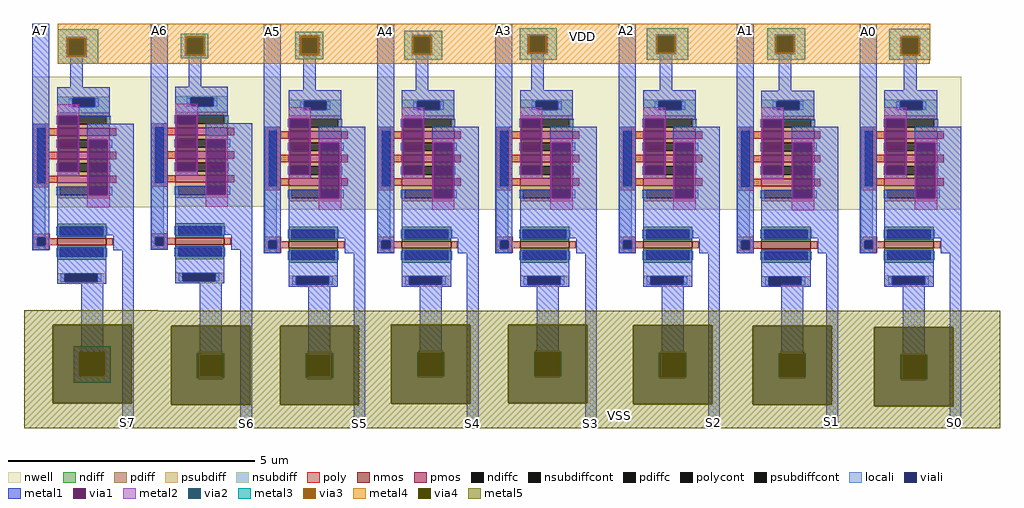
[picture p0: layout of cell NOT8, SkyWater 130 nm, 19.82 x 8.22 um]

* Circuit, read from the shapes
.subckt NOT8 A7 A6 A5 A4 A3 A2 A1 A0 S0 S1 S2 S3 S4 S5 S6 S7 VDD VSS
XM1 S7 A7 VSS VSS sky130_fd_pr__nfet_01v8 w=1 l=0.15
XM2 S6 A6 VSS VSS sky130_fd_pr__nfet_01v8 w=1 l=0.15
XM3 S5 A5 VSS VSS sky130_fd_pr__nfet_01v8 w=1 l=0.15
XM4 S4 A4 VSS VSS sky130_fd_pr__nfet_01v8 w=1 l=0.15
XM5 S3 A3 VSS VSS sky130_fd_pr__nfet_01v8 w=1 l=0.15
XM6 S2 A2 VSS VSS sky130_fd_pr__nfet_01v8 w=1 l=0.15
XM7 S1 A1 VSS VSS sky130_fd_pr__nfet_01v8 w=1 l=0.15
XM8 S0 A0 VSS VSS sky130_fd_pr__nfet_01v8 w=1 l=0.15
XM9 VDD A7 S7 VDD sky130_fd_pr__pfet_01v8 w=1.07 l=0.15 m=3
XM10 VDD A6 S6 VDD sky130_fd_pr__pfet_01v8 w=1.07 l=0.15 m=3
XM11 VDD A5 S5 VDD sky130_fd_pr__pfet_01v8 w=1.07 l=0.15 m=3
XM12 VDD A4 S4 VDD sky130_fd_pr__pfet_01v8 w=1.07 l=0.15 m=3
XM13 VDD A3 S3 VDD sky130_fd_pr__pfet_01v8 w=1.07 l=0.15 m=3
XM14 VDD A2 S2 VDD sky130_fd_pr__pfet_01v8 w=1.07 l=0.15 m=3
XM15 VDD A1 S1 VDD sky130_fd_pr__pfet_01v8 w=1.07 l=0.15 m=3
XM16 VDD A0 S0 VDD sky130_fd_pr__pfet_01v8 w=1.07 l=0.15 m=3
.ends

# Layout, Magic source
magic
tech sky130B
magscale 1 2
<< nwell >>
rect -76 872 3696 928
rect -76 510 3660 872
rect 311 509 417 510
rect 311 506 461 509
rect 336 398 461 506
rect 815 400 908 510
rect 1275 386 1541 510
rect 1731 386 1997 510
rect 2213 386 2479 510
rect 2713 386 2979 510
rect 3193 386 3459 510
<< metal1 >>
rect -76 736 -7 1143
rect 77 1074 129 1080
rect 77 876 129 1022
rect 404 735 473 1143
rect 558 1078 610 1084
rect 558 876 610 1026
rect 864 723 933 1143
rect 1023 1080 1075 1086
rect 1023 870 1075 1028
rect 1324 722 1393 1143
rect 1480 1082 1532 1088
rect 1480 867 1532 1030
rect 1804 719 1873 1143
rect 1949 1085 2001 1091
rect 1949 868 2001 1033
rect 2304 718 2373 1143
rect 2471 1085 2523 1091
rect 2471 867 2523 1033
rect 2784 721 2853 1143
rect 2954 1085 3006 1091
rect 2954 868 3006 1033
rect 3284 718 3353 1143
rect 3463 1079 3515 1085
rect 3463 869 3515 1027
rect 122 -195 211 89
rect 122 -290 211 -284
rect 288 -501 336 223
rect 603 -201 692 89
rect 603 -296 692 -290
rect 768 -501 816 237
rect 1045 -201 1134 89
rect 1045 -296 1134 -290
rect 1228 -501 1276 220
rect 1497 -196 1586 89
rect 1497 -291 1586 -285
rect 1688 -501 1736 219
rect 1972 -195 2061 89
rect 1972 -290 2061 -284
rect 2168 -501 2216 216
rect 2479 -199 2568 89
rect 2479 -294 2568 -288
rect 2668 -501 2716 219
rect 2965 -200 3054 89
rect 2965 -295 3054 -289
rect 3148 -501 3196 219
rect 3458 -207 3547 89
rect 3458 -302 3547 -296
rect 3648 -501 3696 229
<< via1 >>
rect 77 1022 129 1074
rect 558 1026 610 1078
rect 1023 1028 1075 1080
rect 1480 1030 1532 1082
rect 1949 1033 2001 1085
rect 2471 1033 2523 1085
rect 2954 1033 3006 1085
rect 3463 1027 3515 1079
rect 122 -284 211 -195
rect 603 -290 692 -201
rect 1045 -290 1134 -201
rect 1497 -285 1586 -196
rect 1972 -284 2061 -195
rect 2479 -288 2568 -199
rect 2965 -289 3054 -200
rect 3458 -296 3547 -207
<< metal2 >>
rect 62 1078 144 1089
rect 62 1018 73 1078
rect 133 1018 144 1078
rect 62 1007 144 1018
rect 543 1082 625 1093
rect 543 1022 554 1082
rect 614 1022 625 1082
rect 543 1011 625 1022
rect 1008 1084 1090 1095
rect 1008 1024 1019 1084
rect 1079 1024 1090 1084
rect 1008 1013 1090 1024
rect 1465 1086 1547 1097
rect 1465 1026 1476 1086
rect 1536 1026 1547 1086
rect 1465 1015 1547 1026
rect 1934 1089 2016 1100
rect 1934 1029 1945 1089
rect 2005 1029 2016 1089
rect 1934 1018 2016 1029
rect 2456 1089 2538 1100
rect 2456 1029 2467 1089
rect 2527 1029 2538 1089
rect 2456 1018 2538 1029
rect 2939 1089 3021 1100
rect 2939 1029 2950 1089
rect 3010 1029 3021 1089
rect 2939 1018 3021 1029
rect 3448 1083 3530 1094
rect 3448 1023 3459 1083
rect 3519 1023 3530 1083
rect 3448 1012 3530 1023
rect 113 -284 122 -195
rect 211 -284 220 -195
rect 598 -201 697 -190
rect 1040 -201 1139 -190
rect 1492 -196 1591 -185
rect 1967 -195 2066 -184
rect 597 -290 603 -201
rect 692 -290 698 -201
rect 1039 -290 1045 -201
rect 1134 -290 1140 -201
rect 1491 -285 1497 -196
rect 1586 -285 1592 -196
rect 1966 -284 1972 -195
rect 2061 -284 2067 -195
rect 2474 -199 2573 -188
rect 598 -301 697 -290
rect 1040 -301 1139 -290
rect 1492 -296 1591 -285
rect 1967 -295 2066 -284
rect 2473 -288 2479 -199
rect 2568 -288 2574 -199
rect 2960 -200 3059 -189
rect 2474 -299 2573 -288
rect 2959 -289 2965 -200
rect 3054 -289 3060 -200
rect 3453 -207 3552 -196
rect 2960 -300 3059 -289
rect 3452 -296 3458 -207
rect 3547 -296 3553 -207
rect 3453 -307 3552 -296
<< via2 >>
rect 73 1074 133 1078
rect 73 1022 77 1074
rect 77 1022 129 1074
rect 129 1022 133 1074
rect 73 1018 133 1022
rect 554 1078 614 1082
rect 554 1026 558 1078
rect 558 1026 610 1078
rect 610 1026 614 1078
rect 554 1022 614 1026
rect 1019 1080 1079 1084
rect 1019 1028 1023 1080
rect 1023 1028 1075 1080
rect 1075 1028 1079 1080
rect 1019 1024 1079 1028
rect 1476 1082 1536 1086
rect 1476 1030 1480 1082
rect 1480 1030 1532 1082
rect 1532 1030 1536 1082
rect 1476 1026 1536 1030
rect 1945 1085 2005 1089
rect 1945 1033 1949 1085
rect 1949 1033 2001 1085
rect 2001 1033 2005 1085
rect 1945 1029 2005 1033
rect 2467 1085 2527 1089
rect 2467 1033 2471 1085
rect 2471 1033 2523 1085
rect 2523 1033 2527 1085
rect 2467 1029 2527 1033
rect 2950 1085 3010 1089
rect 2950 1033 2954 1085
rect 2954 1033 3006 1085
rect 3006 1033 3010 1085
rect 2950 1029 3010 1033
rect 3459 1079 3519 1083
rect 3459 1027 3463 1079
rect 3463 1027 3515 1079
rect 3515 1027 3519 1079
rect 3459 1023 3519 1027
rect 122 -284 211 -195
rect 603 -290 692 -201
rect 1045 -290 1134 -201
rect 1497 -285 1586 -196
rect 1972 -284 2061 -195
rect 2479 -288 2568 -199
rect 2965 -289 3054 -200
rect 3458 -296 3547 -207
<< metal3 >>
rect 27 1083 191 1119
rect 27 1013 68 1083
rect 138 1013 191 1083
rect 27 980 191 1013
rect 527 1087 638 1102
rect 527 1017 549 1087
rect 619 1017 638 1087
rect 527 1002 638 1017
rect 991 1089 1106 1109
rect 991 1019 1014 1089
rect 1084 1019 1106 1089
rect 991 998 1106 1019
rect 1433 1091 1588 1114
rect 1433 1021 1471 1091
rect 1541 1021 1588 1091
rect 1433 997 1588 1021
rect 1903 1094 2054 1124
rect 1903 1024 1940 1094
rect 2010 1024 2054 1094
rect 1903 997 2054 1024
rect 2419 1094 2588 1124
rect 2419 1024 2462 1094
rect 2532 1024 2588 1094
rect 2419 997 2588 1024
rect 2907 1094 3062 1124
rect 2907 1024 2945 1094
rect 3015 1024 3062 1094
rect 2907 997 3062 1024
rect 3404 1088 3570 1122
rect 3404 1018 3454 1088
rect 3524 1018 3570 1088
rect 3404 997 3570 1018
rect 92 -190 242 -168
rect 92 -289 117 -190
rect 216 -289 242 -190
rect 92 -315 242 -289
rect 592 -295 598 -196
rect 697 -295 703 -196
rect 1034 -295 1040 -196
rect 1139 -295 1145 -196
rect 1486 -290 1492 -191
rect 1591 -290 1597 -191
rect 1961 -289 1967 -190
rect 2066 -289 2072 -190
rect 2468 -293 2474 -194
rect 2573 -293 2579 -194
rect 2954 -294 2960 -195
rect 3059 -294 3065 -195
rect 3447 -301 3453 -202
rect 3552 -301 3558 -202
<< via3 >>
rect 68 1078 138 1083
rect 68 1018 73 1078
rect 73 1018 133 1078
rect 133 1018 138 1078
rect 68 1013 138 1018
rect 549 1082 619 1087
rect 549 1022 554 1082
rect 554 1022 614 1082
rect 614 1022 619 1082
rect 549 1017 619 1022
rect 1014 1084 1084 1089
rect 1014 1024 1019 1084
rect 1019 1024 1079 1084
rect 1079 1024 1084 1084
rect 1014 1019 1084 1024
rect 1471 1086 1541 1091
rect 1471 1026 1476 1086
rect 1476 1026 1536 1086
rect 1536 1026 1541 1086
rect 1471 1021 1541 1026
rect 1940 1089 2010 1094
rect 1940 1029 1945 1089
rect 1945 1029 2005 1089
rect 2005 1029 2010 1089
rect 1940 1024 2010 1029
rect 2462 1089 2532 1094
rect 2462 1029 2467 1089
rect 2467 1029 2527 1089
rect 2527 1029 2532 1089
rect 2462 1024 2532 1029
rect 2945 1089 3015 1094
rect 2945 1029 2950 1089
rect 2950 1029 3010 1089
rect 3010 1029 3015 1089
rect 2945 1024 3015 1029
rect 3454 1083 3524 1088
rect 3454 1023 3459 1083
rect 3459 1023 3519 1083
rect 3519 1023 3524 1083
rect 3454 1018 3524 1023
rect 117 -195 216 -190
rect 117 -284 122 -195
rect 122 -284 211 -195
rect 211 -284 216 -195
rect 117 -289 216 -284
rect 598 -201 697 -196
rect 598 -290 603 -201
rect 603 -290 692 -201
rect 692 -290 697 -201
rect 598 -295 697 -290
rect 1040 -201 1139 -196
rect 1040 -290 1045 -201
rect 1045 -290 1134 -201
rect 1134 -290 1139 -201
rect 1040 -295 1139 -290
rect 1492 -196 1591 -191
rect 1492 -285 1497 -196
rect 1497 -285 1586 -196
rect 1586 -285 1591 -196
rect 1492 -290 1591 -285
rect 1967 -195 2066 -190
rect 1967 -284 1972 -195
rect 1972 -284 2061 -195
rect 2061 -284 2066 -195
rect 1967 -289 2066 -284
rect 2474 -199 2573 -194
rect 2474 -288 2479 -199
rect 2479 -288 2568 -199
rect 2568 -288 2573 -199
rect 2474 -293 2573 -288
rect 2960 -200 3059 -195
rect 2960 -289 2965 -200
rect 2965 -289 3054 -200
rect 3054 -289 3059 -200
rect 2960 -294 3059 -289
rect 3453 -207 3552 -202
rect 3453 -296 3458 -207
rect 3458 -296 3547 -207
rect 3547 -296 3552 -207
rect 3453 -301 3552 -296
<< metal4 >>
rect 27 1094 3570 1143
rect 27 1091 1940 1094
rect 27 1089 1471 1091
rect 27 1087 1014 1089
rect 27 1083 549 1087
rect 27 1013 68 1083
rect 138 1017 549 1083
rect 619 1019 1014 1087
rect 1084 1021 1471 1089
rect 1541 1024 1940 1091
rect 2010 1024 2462 1094
rect 2532 1024 2945 1094
rect 3015 1088 3570 1094
rect 3015 1024 3454 1088
rect 1541 1021 3454 1024
rect 1084 1019 3454 1021
rect 619 1018 3454 1019
rect 3524 1018 3570 1088
rect 619 1017 3570 1018
rect 138 1013 3570 1017
rect 27 997 3570 1013
rect 27 980 3568 997
<< via4 >>
rect 7 -190 327 -79
rect 7 -289 117 -190
rect 117 -289 216 -190
rect 216 -289 327 -190
rect 7 -399 327 -289
rect 488 -196 808 -85
rect 488 -295 598 -196
rect 598 -295 697 -196
rect 697 -295 808 -196
rect 488 -405 808 -295
rect 930 -196 1250 -85
rect 930 -295 1040 -196
rect 1040 -295 1139 -196
rect 1139 -295 1250 -196
rect 930 -405 1250 -295
rect 1382 -191 1702 -80
rect 1382 -290 1492 -191
rect 1492 -290 1591 -191
rect 1591 -290 1702 -191
rect 1382 -400 1702 -290
rect 1857 -190 2177 -79
rect 1857 -289 1967 -190
rect 1967 -289 2066 -190
rect 2066 -289 2177 -190
rect 1857 -399 2177 -289
rect 2364 -194 2684 -83
rect 2364 -293 2474 -194
rect 2474 -293 2573 -194
rect 2573 -293 2684 -194
rect 2364 -403 2684 -293
rect 2850 -195 3170 -84
rect 2850 -294 2960 -195
rect 2960 -294 3059 -195
rect 3059 -294 3170 -195
rect 2850 -404 3170 -294
rect 3343 -202 3663 -91
rect 3343 -301 3453 -202
rect 3453 -301 3552 -202
rect 3552 -301 3663 -202
rect 3343 -411 3663 -301
<< metal5 >>
rect -110 -24 435 -22
rect -110 -79 3853 -24
rect -110 -399 7 -79
rect 327 -80 1857 -79
rect 327 -85 1382 -80
rect 327 -399 488 -85
rect -110 -405 488 -399
rect 808 -405 930 -85
rect 1250 -400 1382 -85
rect 1702 -399 1857 -80
rect 2177 -83 3853 -79
rect 2177 -399 2364 -83
rect 1702 -400 2364 -399
rect 1250 -403 2364 -400
rect 2684 -84 3853 -83
rect 2684 -403 2850 -84
rect 1250 -404 2850 -403
rect 3170 -91 3853 -84
rect 3170 -404 3343 -91
rect 1250 -405 3343 -404
rect -110 -411 3343 -405
rect 3663 -411 3853 -91
rect -110 -501 3853 -411
use inv  inv_0 ~/Desktop/vlsi_sky130b/design/mag/inv
transform 1 0 1804 0 1 386
box 0 -311 412 486
use inv  inv_1
transform 1 0 -76 0 1 398
box 0 -311 412 486
use inv  inv_2
transform 1 0 404 0 1 400
box 0 -311 412 486
use inv  inv_3
transform 1 0 864 0 1 386
box 0 -311 412 486
use inv  inv_4
transform 1 0 1324 0 1 386
box 0 -311 412 486
use inv  inv_5
transform 1 0 2304 0 1 386
box 0 -311 412 486
use inv  inv_6
transform 1 0 2784 0 1 385
box 0 -311 412 486
use inv  inv_7
transform 1 0 3284 0 1 386
box 0 -311 412 486
<< labels >>
rlabel metal1 3652 -495 3687 -462 1 S0
port 9 n
rlabel metal1 3153 -488 3188 -455 1 S1
port 10 n
rlabel metal1 2674 -495 2709 -462 1 S2
port 11 n
rlabel metal1 2174 -496 2209 -463 1 S3
port 12 n
rlabel metal1 1694 -496 1729 -463 1 S4
port 13 n
rlabel metal1 1235 -496 1270 -463 1 S5
port 14 n
rlabel metal1 774 -496 809 -463 1 S6
port 15 n
rlabel metal1 294 -495 329 -462 1 S7
port 16 n
rlabel metal1 3293 1088 3344 1135 5 A0
port 8 s
rlabel metal1 2793 1090 2844 1137 5 A1
port 7 s
rlabel metal1 2312 1091 2363 1138 5 A2
port 6 s
rlabel metal1 1813 1090 1864 1137 5 A3
port 5 s
rlabel metal1 1332 1089 1383 1136 5 A4
port 4 s
rlabel metal1 872 1088 923 1135 5 A5
port 3 s
rlabel metal1 413 1091 464 1138 5 A6
port 2 s
rlabel metal1 -68 1091 -17 1138 5 A7
port 1 s
flabel metal4 2108 1056 2206 1126 0 FreeSans 160 0 0 0 VDD
port 17 nsew
flabel metal5 2258 -482 2356 -412 0 FreeSans 160 0 0 0 VSS
port 18 nsew
<< end >>

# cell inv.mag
magic
tech sky130B
magscale 1 2
<< nwell >>
rect 0 366 412 486
rect 101 347 104 366
rect 223 290 343 338
rect 326 288 343 290
rect 376 0 412 366
<< psubdiff >>
rect 100 -270 300 -268
rect 100 -304 131 -270
rect 263 -304 300 -270
rect 100 -311 300 -304
<< nsubdiff >>
rect 100 442 314 448
rect 100 408 163 442
rect 254 408 314 442
rect 100 382 314 408
<< psubdiffcont >>
rect 131 -304 263 -270
<< nsubdiffcont >>
rect 163 408 254 442
<< poly >>
rect 3 -124 70 -108
rect 3 -158 19 -124
rect 53 -126 70 -124
rect 53 -156 75 -126
rect 53 -158 70 -156
rect 3 -174 70 -158
<< polycont >>
rect 19 -158 53 -124
<< locali >>
rect 147 408 163 442
rect 254 408 270 442
rect 3 -124 53 339
rect 3 -158 19 -124
rect 3 -174 53 -158
rect 115 -304 131 -270
rect 263 -304 279 -270
<< viali >>
rect 163 408 254 442
rect 19 -158 53 -124
rect 131 -304 263 -270
<< metal1 >>
rect 100 442 314 486
rect 100 408 163 442
rect 254 408 314 442
rect 100 366 314 408
rect 101 347 104 366
rect 0 80 53 338
rect 223 82 412 338
rect 0 -124 69 80
rect 100 -114 412 82
rect 0 -158 19 -124
rect 53 -158 69 -124
rect 0 -175 69 -158
rect 100 -270 300 -161
rect 328 -175 412 -114
rect 100 -304 131 -270
rect 263 -304 300 -270
rect 100 -311 300 -304
use efepmos_W107-L15-F3  efepmos_W107-L15-F3_0
transform 0 1 207 -1 0 209
box -209 -207 209 169
use sky130_fd_pr__nfet_01v8_6H9P4D  sky130_fd_pr__nfet_01v8_6H9P4D_0
transform 0 1 200 -1 0 -141
box -73 -126 73 126
<< labels >>
rlabel metal1 0 78 0 78 3 A
port 1 e
rlabel metal1 198 -311 198 -311 5 VSS
port 2 s
rlabel metal1 210 486 210 486 5 VDD
port 3 s
rlabel metal1 412 78 412 78 3 Y
port 4 e
<< end >>

# cell efepmos_W107-L15-F3: kit device sky130_fd_pr__pfet_01v8, w 1.07 l 0.15 m 1 nf 3 diffcov 100 polycov 100 guard 0 glc 1 grc 1 gtc 1 gbc 1 tbcov 100 rlcov 100 topc 0 botc 0 poverlap 0 doverlap 1 lmin 0.15 wmin 0.42 compatible {sky130_fd_pr__pfet_01v8 sky130_fd_pr__pfet_01v8_lvt sky130_fd_pr__pfet_01v8_hvt sky130_fd_pr__pfet_g5v0d10v5} full_metal 1 viasrc 100 viadrn 100 viagate 100 viagb 0 viagr 0 viagl 0 viagt 0

# cell sky130_fd_pr__nfet_01v8_6H9P4D: kit device sky130_fd_pr__nfet_01v8, w 1 l 0.150 m 1 nf 1 diffcov 100 polycov 100 guard 0 glc 1 grc 1 gtc 1 gbc 1 tbcov 100 rlcov 100 topc 0 botc 0 poverlap 0 doverlap 1 lmin 0.15 wmin 0.42 compatible {sky130_fd_pr__nfet_01v8 sky130_fd_pr__nfet_01v8_lvt sky130_fd_bs_flash__special_sonosfet_star sky130_fd_pr__nfet_g5v0d10v5 sky130_fd_pr__nfet_05v0_nvt sky130_fd_pr__nfet_03v3_nvt} full_metal 1 viasrc 100 viadrn 100 viagate 100 viagb 0 viagr 0 viagl 0 viagt 0
